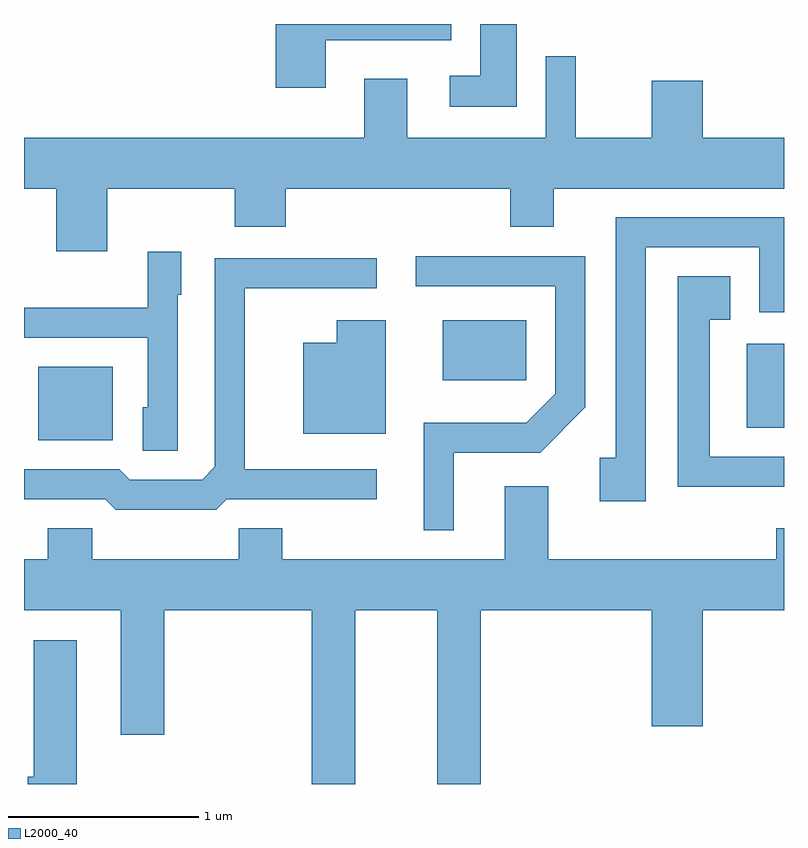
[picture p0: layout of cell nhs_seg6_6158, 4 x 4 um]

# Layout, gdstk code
import gdstk
lib = gdstk.Library(unit=1e-6, precision=1e-09)
def R(c, l, rs):  # rectangles x0, y0, x1, y1
    for r in rs: c.add(gdstk.rectangle(r[:2], r[2:], *l))
def P(c, l, *ps):  # polygons
    for p in ps: c.add(gdstk.Polygon(p, *l))
L2000_40 = (2000, 40)

nhs_seg6_6158 = lib.new_cell('nhs_seg6_6158')
R(nhs_seg6_6158, L2000_40, [(371.686,1621.971,372.079,1622.359), (375.416,1622.036,375.611,1622.479), (373.816,1622.286,374.254,1622.604)])
P(nhs_seg6_6158, L2000_40, [(374.204,1624.162),(374.011,1624.162),(374.011,1623.889),(373.853,1623.889),(373.853,1623.726),(374.204,1623.726)],
  [(373.199,1624.076),(373.859,1624.076),(373.859,1624.162),(372.936,1624.162),(372.936,1623.826),(373.199,1623.826)],
  [(372.049,1623.296),(372.721,1623.296),(372.721,1623.096),(372.989,1623.096),(372.989,1623.296),(374.171,1623.296),(374.171,1623.096),(374.399,1623.096),(374.399,1623.296),(375.611,1623.296),(375.611,1623.564),(375.184,1623.564),(375.184,1623.864),(374.916,1623.864),(374.916,1623.564),(374.514,1623.564),(374.514,1623.993),(374.356,1623.993),(374.356,1623.564),(373.629,1623.564),(373.629,1623.874),(373.401,1623.874),(373.401,1623.564),(371.611,1623.564),(371.611,1623.296),(371.781,1623.296),(371.781,1622.966),(372.049,1622.966)],
  [(374.884,1622.986),(375.481,1622.986),(375.481,1622.646),(375.611,1622.646),(375.611,1623.144),(374.726,1623.144),(374.726,1621.879),(374.641,1621.879),(374.641,1621.651),(374.884,1621.651)],
  [(372.419,1622.736),(372.439,1622.736),(372.439,1622.964),(372.261,1622.964),(372.261,1622.669),(371.611,1622.669),(371.611,1622.511),(372.261,1622.511),(372.261,1622.144),(372.236,1622.144),(372.236,1621.916),(372.419,1621.916)],
  [(373.874,1621.906),(374.327,1621.906),(374.564,1622.144),(374.564,1622.939),(373.673,1622.939),(373.673,1622.781),(374.406,1622.781),(374.406,1622.217),(374.254,1622.064),(373.716,1622.064),(373.716,1621.498),(373.874,1621.498)],
  [(372.677,1621.661),(373.468,1621.661),(373.468,1621.819),(372.774,1621.819),(372.774,1622.771),(373.468,1622.771),(373.468,1622.929),(372.616,1622.929),(372.616,1621.832),(372.549,1621.764),(372.167,1621.764),(372.112,1621.819),(371.611,1621.819),(371.611,1621.661),(372.039,1621.661),(372.094,1621.606),(372.622,1621.606)],
  [(375.611,1621.884),(375.219,1621.884),(375.219,1622.606),(375.329,1622.606),(375.329,1622.834),(375.051,1622.834),(375.051,1621.726),(375.611,1621.726)],
  [(373.514,1622.604),(373.256,1622.604),(373.256,1622.484),(373.081,1622.484),(373.081,1622.006),(373.514,1622.006)],
  [(373.354,1621.076),(373.786,1621.076),(373.786,1620.162),(374.014,1620.162),(374.014,1621.076),(374.916,1621.076),(374.916,1620.466),(375.184,1620.466),(375.184,1621.076),(375.611,1621.076),(375.611,1621.509),(375.571,1621.509),(375.571,1621.344),(374.369,1621.344),(374.369,1621.729),(374.141,1621.729),(374.141,1621.344),(372.969,1621.344),(372.969,1621.509),(372.741,1621.509),(372.741,1621.344),(371.969,1621.344),(371.969,1621.509),(371.736,1621.509),(371.736,1621.344),(371.611,1621.344),(371.611,1621.076),(372.121,1621.076),(372.121,1620.421),(372.349,1620.421),(372.349,1621.076),(373.126,1621.076),(373.126,1620.162),(373.354,1620.162)],
  [(371.889,1620.919),(371.661,1620.919),(371.661,1620.199),(371.631,1620.199),(371.631,1620.162),(371.889,1620.162)])

lib.write_gds('nhs_seg6_6158.gds')
